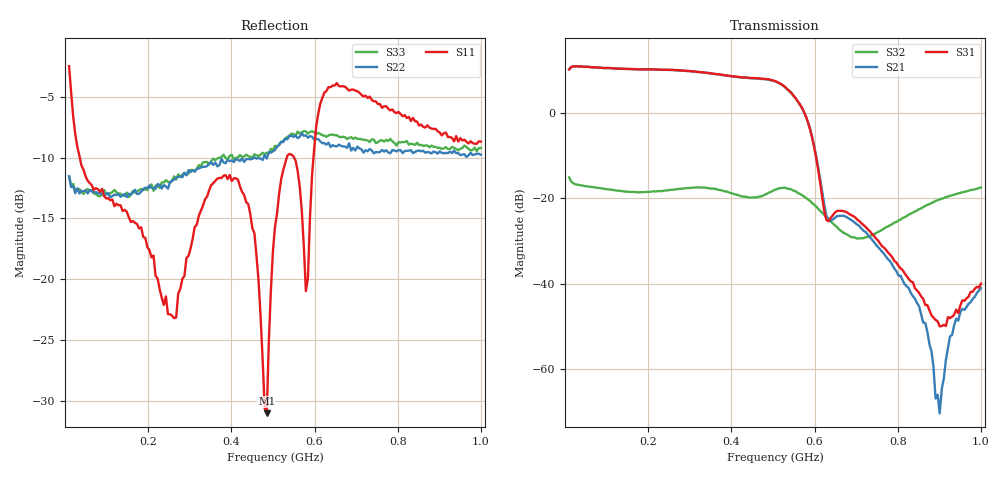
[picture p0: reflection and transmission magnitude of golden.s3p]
!Created with skrf (http://scikit-rf.org).
# Hz S RI R 50.0
!freq ReS11 ImS11 ReS12 ImS12 ReS13 ImS13
! ReS21 ImS21 ReS22 ImS22 ReS23 ImS23
! ReS31 ImS31 ReS32 ImS32 ReS33 ImS33
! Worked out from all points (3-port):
!   201 points, 10 MHz to 1 GHz, reference 50 ohm
!   strongest paths, dB at 10 MHz, 257.5 MHz, 505 MHz, 752.5 MHz, 1 GHz:
!     S31: 10.2, 10.1, 7.5, -29.9, -40.0
!     S21: 10.3, 10.1, 7.4, -31.4, -41.1
!     S32: -15.1, -18.0, -18.0, -27.9, -17.5
!   lowest |S11| = -31.0 dB at 485.2 MHz (marker M1), VSWR 1.06, Z = 47.5 - j1.17 ohm
!   |S11| at or under -10 dB: 35.65 MHz to 533.3 MHz (497.7 MHz wide, 175 % of centre); 550.9 MHz to 597.5 MHz (46.55 MHz wide, 8.11 % of centre)
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1e7  0.4939 -0.5648  -0.0131 -0.015  0.0131 0.0158
     3.012 1.233  -0.2526 0.0793  0.1694 -0.0523
     -2.994 -1.23  0.1692 -0.0466  -0.2453 0.0995
1.189e8  -0.1778 -0.0908  -0.00847 0.023  0.00981 -0.0222
         0.5691 -3.279  -0.1664 0.1481  0.1151 -0.0474
         -0.7128 3.25  0.1142 -0.0484  -0.1718 0.157
2.575e8  0.0689 0.0169  0.0227 0.00711  -0.0221 -0.00888
         -3.193 -0.1174  -0.0732 0.2431  0.1056 -0.0668
         3.183 0.3298  0.1064 -0.0674  -0.0926 0.2369
3.664e8  -0.2396 -0.0986  0.00867 -0.02  -0.0118 0.0191
         -0.1639 2.83  0.0653 0.2835  0.0699 -0.1039
         0.5012 -2.807  0.0685 -0.1061  0.0307 0.3123
4.852e8  -0.0253 -0.0123  -0.0195 -7.44e-05  0.0201 0.00401
         2.223 -1.087  0.1842 0.2531  0.0499 -0.1042
         -2.395 0.6903  0.0509 -0.1003  0.1798 0.2778
5.05e8  -0.1472 -0.0734  -0.0167 0.0086  0.0183 -0.0059
        1.448 -1.855  0.2005 0.2746  0.0453 -0.1174
        -1.737 1.608  0.0493 -0.1157  0.1893 0.2986
5.644e8  -0.00304 0.2407  0.00587 0.00864  -0.00373 -0.00912
         -1.147 -0.5427  0.3144 0.2217  -0.0123 -0.1111
         1.046 0.7161  -0.0194 -0.1108  0.2901 0.2711
6.8815e8  -0.0677 0.5968  4.34e-05 5.72e-05  -0.00011 -0.000419
          -0.0548 0.0101  0.3337 0.0536  -0.000722 -0.0345
          0.0625 0.0122  -0.00162 -0.035  0.3695 0.1019
9.01e8  0.3736 -0.1459  -1.91e-05 -0.000753  -0.000172 -4.98e-05
        -0.000296 5.55e-05  0.3235 -0.0881  0.0596 -0.0758
        0.00314 -0.000256  0.0592 -0.077  0.3411 -0.0632
1e9  0.0411 -0.3652  0.000369 0.000169  -0.000149 -0.000189
     -0.00868 -0.00168  0.3067 -0.1069  0.0441 -0.1292
     0.00799 0.00597  0.0464 -0.1254  0.3334 -0.0945
